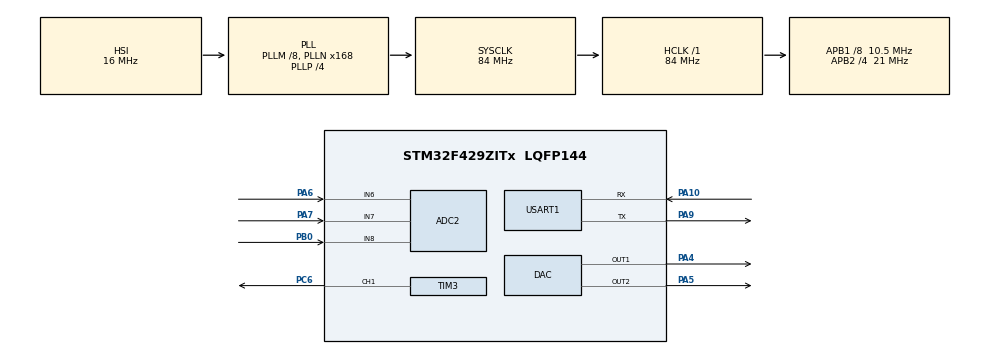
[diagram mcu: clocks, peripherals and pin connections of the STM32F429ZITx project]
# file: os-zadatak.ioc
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Mcu.Family=STM32F4
FREERTOS.Queues01=SCADA,16,Data,0,Dynamic,NULL,NULL
RCC.CortexFreq_Value=84000000
ADC2.SamplingTime-1\#ChannelRegularConversion=ADC_SAMPLETIME_480CYCLES
ADC2.Channel-0\#ChannelRegularConversion=ADC_CHANNEL_6
NVIC.TIM6_DAC_IRQn=true\:5\:0\:false\:false\:true\:true\:true\:true
RCC.SYSCLKSourceVirtual=RCC_SYSCLKSOURCE_PLLCLK
RCC.SYSCLKSource=RCC_SYSCLKSOURCE_PLLCLK
ProjectManager.StackSize=0x400
SH.COMP_DAC2_group.0=DAC_OUT2,DAC_OUT2
NVIC.ADC_IRQn=true\:5\:0\:false\:false\:true\:true\:true\:true
RCC.HCLKFreq_Value=84000000
RCC.APB2TimFreq_Value=42000000
TIM3.Period=1000
RCC.AHBFreq_Value=84000000
TIM3.Channel-PWM\ Generation1\ CH1=TIM_CHANNEL_1
RCC.HSE_VALUE=8000000
RCC.PLLMUL=RCC_PLL_MUL9
VP_SYS_VS_tim1.Mode=TIM1
TIM3.Prescaler=83
SH.ADCx_IN8.0=ADC2_IN8,IN8
SH.S_TIM3_CH1.0=TIM3_CH1,PWM Generation1 CH1
VP_FREERTOS_VS_CMSIS_V1.Mode=CMSIS_V1
Mcu.Package=LQFP144
PA6.Signal=ADCx_IN6
NVIC.TimeBase=TIM1_UP_TIM10_IRQn
ADC2.Channel-1\#ChannelRegularConversion=ADC_CHANNEL_7
NVIC.TimeBaseIP=TIM1
PA10.Signal=USART1_RX
ADC2.SamplingTime-0\#ChannelRegularConversion=ADC_SAMPLETIME_480CYCLES
RCC.APB2CLKDivider=RCC_HCLK_DIV4
ADC2.SamplingTime-2\#ChannelRegularConversion=ADC_SAMPLETIME_480CYCLES
ADC2.NbrOfConversion=3
RCC.APB1TimFreq_Value=21000000
ADC2.Rank-2\#ChannelRegularConversion=3
ADC2.Rank-0\#ChannelRegularConversion=1
NVIC.USART1_IRQn=true\:5\:0\:false\:false\:true\:true\:true\:true
VP_TIM3_VS_ClockSourceINT.Mode=Internal
ADC2.ScanConvMode=ENABLE
SH.COMP_DAC1_group.0=DAC_OUT1,DAC_OUT1
FREERTOS.Tasks01=LevelTask,1,128,StartLevelTask,Default,NULL,Dynamic,NULL,NULL;TempTask,2,128,StartTempTask,Default,NULL,Dynamic,NULL,NULL;pHTask,3,128,StartpHTask,Default,NULL,Dynamic,NULL,NULL;ComTask,-2,128,StartComTask,Default,NULL,Dynamic,NULL,NULL
PA10.Mode=Asynchronous
SH.ADCx_IN6.0=ADC2_IN6,IN6
PC6.Signal=S_TIM3_CH1
RCC.APB1CLKDivider=RCC_HCLK_DIV8
PA9.Mode=Asynchronous
ADC2.ContinuousConvMode=ENABLE
ProjectManager.TargetToolchain=STM32CubeIDE
SH.ADCx_IN7.0=ADC2_IN7,IN7
PA9.Signal=USART1_TX
RCC.USBFreq_Value=48000000
RCC.LSE_VALUE=32768
PA5.Signal=COMP_DAC2_group
board=NUCLEO-F429ZI
RCC.VCOOutputFreq_Value=336000000
ADC2.Channel-2\#ChannelRegularConversion=ADC_CHANNEL_8
RCC.APB2Freq_Value=21000000
RCC.PRESCALERUSB=RCC_USBCLKSOURCE_PLL_DIV1_5
Mcu.Name=STM32F429ZITx
RCC.APB2TimCLKDivider=2
RCC.48MHZClocksFreq_Value=48000000
PA4.Signal=COMP_DAC1_group
RCC.SYSCLKFreq_VALUE=84000000
ADC2.NbrOfConversionFlag=1
USART1.VirtualMode=VM_ASYNC
ProjectManager.HeapSize=0x200
NVIC.TIM1_UP_TIM10_IRQn=true\:0\:0\:false\:false\:true\:false\:false\:true
RCC.HSI_VALUE=16000000
FREERTOS.Mutexes01=MutexADC,Dynamic,NULL
RCC.PLLP=RCC_PLLP_DIV4
RCC.PLLQ=7
NVIC.PriorityGroup=NVIC_PRIORITYGROUP_4
RCC.PLLM=8
RCC.PLLN=168
ADC2.Rank-1\#ChannelRegularConversion=2
RCC.APB1Freq_Value=10500000
PB0.Signal=ADCx_IN8
PA7.Signal=ADCx_IN7

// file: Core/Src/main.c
/* USER CODE BEGIN Header */
/**
  ******************************************************************************
  * @file           : main.c
  * @brief          : Main program body
  ******************************************************************************
  * @attention
  *
  * <h2><center>&copy; Copyright (c) 2019 STMicroelectronics.
  * All rights reserved.</center></h2>
  *
  * This software component is licensed by ST under Ultimate Liberty license
  * SLA0044, the "License"; You may not use this file except in compliance with
  * the License. You may obtain a copy of the License at:
  *                             www.st.com/SLA0044
  *
  ******************************************************************************
  */
/* USER CODE END Header */

#include "main.h"
#include "cmsis_os.h"
#include <stdlib.h>
#include <stdio.h>
#include <string.h>

ADC_HandleTypeDef hadc2;

DAC_HandleTypeDef hdac;

TIM_HandleTypeDef htim3;

UART_HandleTypeDef huart1;

osThreadId LevelTaskHandle;
osThreadId TempTaskHandle;
osThreadId pHTaskHandle;
osThreadId ComTaskHandle;

osMailQId SCADAHandle;
osMutexId MutexADCHandle;

void SystemClock_Config(void);
static void MX_GPIO_Init(void);
static void MX_DAC_Init(void);
static void MX_USART1_UART_Init(void);
static void MX_ADC2_Init(void);
static void MX_TIM3_Init(void);

// Korisnicki kreirane funkcije za svaki od taskova navedenih u zadatku
void StartTask1(void const * argument); // Task vezan za nivo vode
void StartTask2(void const * argument); // Task vezan za temeraturu
void StartTask3(void const * argument); // Task vezan za ph vrijednost
void StartTask4(void const * argument); // Task vezan za komunikaciju

/* USER CODE BEGIN PFP */
//Korisnicki kreirane varijable
uint16_t adcValue[3];  //varijabla za podatke sa adc-a
osStatus status = osOK;

static float max_level; // max level tecnosti
static float max_pH;    // max ph vrijednost
static float max_temp;  // max temperatura
static float tretnutna_vr_pH; //trenutna ph vrijednost
static float trenutna_vr_temp;  //trenutna temperatura
static float trenutna_vr_lvl; // trenutni level vode

uint32_t Ttimestamp;
uint32_t Ptimestamp;
uint32_t Ltimestamp;

unsigned char Ulazni_buffer[8];
unsigned char Izlazni_buffer[25];

//Strukture koje koristimo za komunikaciju
struct dolaznaPoruka {
	char tip;
	char vrijednost[7];
};

struct odlaznaPoruka{
	char tip;
	char refVrijednost[7];
	char mjVrijednost[7];
	char timestamp[10];
};

/* USER CODE END PFP */

int main(void)
{

  /* MCU Configuration--------------------------------------------------------*/

  /* Reset of all peripherals, Initializes the Flash interface and the Systick. */
  HAL_Init();

  /* Configure the system clock */
  SystemClock_Config();

  /* Initialize all configured peripherals */
  MX_GPIO_Init();
  MX_DAC_Init();
  MX_USART1_UART_Init();
  MX_ADC2_Init();
  MX_TIM3_Init();

  /* Create the mutex(es) */
  /* definition and creation of MutexADC */
  osMutexDef(MutexADC);
  MutexADCHandle = osMutexCreate(osMutex(MutexADC));

  /* Create the queue(s) */
  /* definition and creation of SCADA */
  //osMailQDef(SCADA, 16, Data);
	//SCADAHandle = osMailCreate(osMailQ(SCADA), NULL);

  /* Create the thread(s) */
  /* definition and creation of Task1 */
  osThreadDef(LevelTask, StartTask1, osPriorityAboveNormal, 0, 128);
  LevelTaskHandle = osThreadCreate(osThread(LevelTask), NULL);

  /* definition and creation of Task2 */
  osThreadDef(TempTask, StartTask2, osPriorityHigh, 0, 128);
  TempTaskHandle = osThreadCreate(osThread(TempTask), NULL);

  /* definition and creation of Task3 */
  osThreadDef(pHTask, StartTask3, osPriorityRealtime, 0, 128);
  pHTaskHandle = osThreadCreate(osThread(pHTask), NULL);

  /* definition and creation of Task4 */
  osThreadDef(ComTask, StartTask4, osPriorityLow, 0, 128);
  ComTaskHandle = osThreadCreate(osThread(ComTask), NULL);

  /* Start scheduler */
  osKernelStart();

  /* We should never get here as control is now taken by the scheduler */

  /* Infinite loop */
  /* USER CODE BEGIN WHILE */
 // HAL_ADC_Start_DMA(&hadc2, (uint32_t*) adcValue, 3);

	while (1)
  {
    /* USER CODE END WHILE */

  }
}

void SystemClock_Config(void)
{
  RCC_OscInitTypeDef RCC_OscInitStruct = {0};
  RCC_ClkInitTypeDef RCC_ClkInitStruct = {0};

  /** Configure the main internal regulator output voltage
  */
  __HAL_RCC_PWR_CLK_ENABLE();
  __HAL_PWR_VOLTAGESCALING_CONFIG(PWR_REGULATOR_VOLTAGE_SCALE3);
  /** Initializes the CPU, AHB and APB busses clocks
  */
  RCC_OscInitStruct.OscillatorType = RCC_OSCILLATORTYPE_HSI;
  RCC_OscInitStruct.HSIState = RCC_HSI_ON;
  RCC_OscInitStruct.HSICalibrationValue = RCC_HSICALIBRATION_DEFAULT;
  RCC_OscInitStruct.PLL.PLLState = RCC_PLL_ON;
  RCC_OscInitStruct.PLL.PLLSource = RCC_PLLSOURCE_HSI;
  RCC_OscInitStruct.PLL.PLLM = 8;
  RCC_OscInitStruct.PLL.PLLN = 168;
  RCC_OscInitStruct.PLL.PLLP = RCC_PLLP_DIV4;
  RCC_OscInitStruct.PLL.PLLQ = 7;
  if (HAL_RCC_OscConfig(&RCC_OscInitStruct) != HAL_OK)
  {
    Error_Handler();
  }
  /** Initializes the CPU, AHB and APB busses clocks
  */
  RCC_ClkInitStruct.ClockType = RCC_CLOCKTYPE_HCLK|RCC_CLOCKTYPE_SYSCLK
                              |RCC_CLOCKTYPE_PCLK1|RCC_CLOCKTYPE_PCLK2;
  RCC_ClkInitStruct.SYSCLKSource = RCC_SYSCLKSOURCE_PLLCLK;
  RCC_ClkInitStruct.AHBCLKDivider = RCC_SYSCLK_DIV1;
  RCC_ClkInitStruct.APB1CLKDivider = RCC_HCLK_DIV8;
  RCC_ClkInitStruct.APB2CLKDivider = RCC_HCLK_DIV4;

  if (HAL_RCC_ClockConfig(&RCC_ClkInitStruct, FLASH_LATENCY_2) != HAL_OK)
  {
    Error_Handler();
  }
}

static void MX_ADC2_Init(void)
{

  ADC_ChannelConfTypeDef sConfig = {0};

  /** Configure the global features of the ADC (Clock, Resolution, Data Alignment and number of conversion)
  */
  hadc2.Instance = ADC2;
  hadc2.Init.ClockPrescaler = ADC_CLOCK_SYNC_PCLK_DIV2;
  hadc2.Init.Resolution = ADC_RESOLUTION_12B;
  hadc2.Init.ScanConvMode = ENABLE;
  hadc2.Init.ContinuousConvMode = ENABLE;
  hadc2.Init.DiscontinuousConvMode = DISABLE;
  hadc2.Init.ExternalTrigConvEdge = ADC_EXTERNALTRIGCONVEDGE_NONE;
  hadc2.Init.ExternalTrigConv = ADC_SOFTWARE_START;
  hadc2.Init.DataAlign = ADC_DATAALIGN_RIGHT;
  hadc2.Init.NbrOfConversion = 3;
  hadc2.Init.DMAContinuousRequests = DISABLE;
  hadc2.Init.EOCSelection = ADC_EOC_SINGLE_CONV;
  if (HAL_ADC_Init(&hadc2) != HAL_OK)
  {
    Error_Handler();
  }
  /** Configure for the selected ADC regular channel its corresponding rank in the sequencer and its sample time.
  */
  sConfig.Channel = ADC_CHANNEL_6;
  sConfig.Rank = 1;
  sConfig.SamplingTime = ADC_SAMPLETIME_480CYCLES;
  if (HAL_ADC_ConfigChannel(&hadc2, &sConfig) != HAL_OK)
  {
    Error_Handler();
  }
  /** Configure for the selected ADC regular channel its corresponding rank in the sequencer and its sample time.
  */
  sConfig.Channel = ADC_CHANNEL_7;
  sConfig.Rank = 2;
  if (HAL_ADC_ConfigChannel(&hadc2, &sConfig) != HAL_OK)
  {
    Error_Handler();
  }
  /** Configure for the selected ADC regular channel its corresponding rank in the sequencer and its sample time.
  */
  sConfig.Channel = ADC_CHANNEL_8;
  sConfig.Rank = 3;
  if (HAL_ADC_ConfigChannel(&hadc2, &sConfig) != HAL_OK)
  {
    Error_Handler();
  }

}

static void MX_DAC_Init(void)
{

  DAC_ChannelConfTypeDef sConfig = {0};

  /** DAC Initialization
  */
  hdac.Instance = DAC;
  if (HAL_DAC_Init(&hdac) != HAL_OK)
  {
    Error_Handler();
  }
  /** DAC channel OUT1 config
  */
  sConfig.DAC_Trigger = DAC_TRIGGER_NONE;
  sConfig.DAC_OutputBuffer = DAC_OUTPUTBUFFER_ENABLE;
  if (HAL_DAC_ConfigChannel(&hdac, &sConfig, DAC_CHANNEL_1) != HAL_OK)
  {
    Error_Handler();
  }
  /** DAC channel OUT2 config
  */
  if (HAL_DAC_ConfigChannel(&hdac, &sConfig, DAC_CHANNEL_2) != HAL_OK)
  {
    Error_Handler();
  }

}

static void MX_TIM3_Init(void)
{

  TIM_ClockConfigTypeDef sClockSourceConfig = {0};
  TIM_MasterConfigTypeDef sMasterConfig = {0};
  TIM_OC_InitTypeDef sConfigOC = {0};

  htim3.Instance = TIM3;
  htim3.Init.Prescaler = 83;
  htim3.Init.CounterMode = TIM_COUNTERMODE_UP;
  htim3.Init.Period = 1000;
  htim3.Init.ClockDivision = TIM_CLOCKDIVISION_DIV1;
  htim3.Init.AutoReloadPreload = TIM_AUTORELOAD_PRELOAD_DISABLE;
  if (HAL_TIM_Base_Init(&htim3) != HAL_OK)
  {
    Error_Handler();
  }
  sClockSourceConfig.ClockSource = TIM_CLOCKSOURCE_INTERNAL;
  if (HAL_TIM_ConfigClockSource(&htim3, &sClockSourceConfig) != HAL_OK)
  {
    Error_Handler();
  }
  if (HAL_TIM_PWM_Init(&htim3) != HAL_OK)
  {
    Error_Handler();
  }
  sMasterConfig.MasterOutputTrigger = TIM_TRGO_RESET;
  sMasterConfig.MasterSlaveMode = TIM_MASTERSLAVEMODE_DISABLE;
  if (HAL_TIMEx_MasterConfigSynchronization(&htim3, &sMasterConfig) != HAL_OK)
  {
    Error_Handler();
  }
  sConfigOC.OCMode = TIM_OCMODE_PWM1;
  sConfigOC.Pulse = 0;
  sConfigOC.OCPolarity = TIM_OCPOLARITY_HIGH;
  sConfigOC.OCFastMode = TIM_OCFAST_DISABLE;
  if (HAL_TIM_PWM_ConfigChannel(&htim3, &sConfigOC, TIM_CHANNEL_1) != HAL_OK)
  {
    Error_Handler();
  }
  HAL_TIM_MspPostInit(&htim3);

}

static void MX_USART1_UART_Init(void)
{

  huart1.Instance = USART1;
  huart1.Init.BaudRate = 115200;
  huart1.Init.WordLength = UART_WORDLENGTH_8B;
  huart1.Init.StopBits = UART_STOPBITS_1;
  huart1.Init.Parity = UART_PARITY_NONE;
  huart1.Init.Mode = UART_MODE_TX_RX;
  huart1.Init.HwFlowCtl = UART_HWCONTROL_NONE;
  huart1.Init.OverSampling = UART_OVERSAMPLING_16;
  if (HAL_UART_Init(&huart1) != HAL_OK)
  {
    Error_Handler();
  }

}

static void MX_GPIO_Init(void)
{

  /* GPIO Ports Clock Enable */
  __HAL_RCC_GPIOA_CLK_ENABLE();
  __HAL_RCC_GPIOB_CLK_ENABLE();
  __HAL_RCC_GPIOC_CLK_ENABLE();

}

/* USER CODE BEGIN Header_StartTask1 */

// Impulsno sirinska modulacija
void pwm(uint16_t val){

		TIM_OC_InitTypeDef sConfigOC;
    sConfigOC.OCMode = TIM_OCMODE_PWM1;
    sConfigOC.Pulse = val;
    sConfigOC.OCPolarity = TIM_OCPOLARITY_HIGH;
    sConfigOC.OCFastMode = TIM_OCFAST_DISABLE;
    HAL_TIM_PWM_ConfigChannel(&htim3, &sConfigOC, TIM_CHANNEL_1);
    HAL_TIM_PWM_Start(&htim3, TIM_CHANNEL_1);
}

/* USER CODE END Header_StartTask1 - odnosi se na nivo vode */
void StartTask1(void const * argument)
{

  /* USER CODE BEGIN 5 */
  /* Infinite loop */

	ADC_ChannelConfTypeDef sConfig = {0};
	//koeficijenti za proracun greske, regulacionog signala i relejnog upravljanja
	static float b0 = 0.2;
	static float b1 = 0.4;
	static float b2 = 0.6;
	static float ek_1 = 0;
	static float ek_2 = 0;
	static float uk_1 = 0;
	uint16_t izmjereniLevel;  //privremena varijabla

	while(1)
  {
		int start = osKernelSysTick();
		if(status == osOK)
			{
			    //Koristenje mutex-a
				status = osMutexWait(MutexADCHandle,2000);
				//setovanje kanala za ADC -> u ovom slucaju koristimo kanal 6
				sConfig.Channel = ADC_CHANNEL_6;
				sConfig.Rank = 1;

				if (HAL_ADC_ConfigChannel(&hadc2, &sConfig) != HAL_OK)
					Error_Handler();

				HAL_ADC_Start(&hadc2);
				HAL_ADC_PollForConversion(&hadc2,10UL);
				// u adcValue smijestamo vrijednost sa ADC -> senzor nivoa
				adcValue[0]=HAL_ADC_GetValue(&hadc2);
				HAL_ADC_Stop(&hadc2);
				status = osMutexRelease(MutexADCHandle);
			}

		/*
		for(int i = 0; i < 4; ++i)
		{
			bufferZaSlanjeLevel[4-i] = (adcValue[0] % 10)+48;
			adcValue[0]/=10;
		}
		*/
		// Primjena formula
			izmjereniLevel = adcValue[0];
			float ek = max_level - izmjereniLevel; //racunanje regulacione greske
			float uk = uk_1 + b0 * ek + b1 * ek_1 + b2 * ek_2; //racunanje upravljackog signala
			HAL_DAC_SetValue(&hdac, DAC_CHANNEL_1, DAC_ALIGN_12B_R, uk);
			ek_2 = ek_1;
			ek_1 = ek;
			uk_1 = uk;

		/*
		bufferZaSlanjeLevel[5] = '\n';
		bufferZaSlanjeLevel[0] = 'L';
		HAL_UART_Transmit(&huart1,bufferZaSlanjeLevel,6,100);
		*/

			int end = osKernelSysTick();
			Ltimestamp = end-start;
			osDelay(100 - Ltimestamp);
		}
		/* USER CODE END 5 */
}

/* USER CODE BEGIN Header_StartTask2 */
/* USER CODE END Header_StartTask2 -> odnosi se na temperaturu */
void StartTask2(void const * argument)
{
  /* USER CODE BEGIN */
  /* Infinite loop */
	//koeficijenti za proracun greske, regulacionog signala i relejnog upravljanja
	ADC_ChannelConfTypeDef sConfig = {0};
	static float b0 = 0.4;
	static float b1 = 0.3;
	static float b2 = 0.5;
	static float ek_1 = 0;
	static float ek_2 = 0;
	static float uk_1 = 0;
	uint16_t temperaturaIzmjerena;

	while(1)
  {
		int start = osKernelSysTick();
		if(status == osOK)
			{
			   //Kao i u prethodnoj funkciji, setujemo mutex
				status = osMutexWait(MutexADCHandle,2000);
				// Sada mijenjamo ADC kanal na 7 -> za mjerenje temperatuje
				sConfig.Channel = ADC_CHANNEL_7;
				sConfig.Rank = 1;

				if (HAL_ADC_ConfigChannel(&hadc2, &sConfig) != HAL_OK)
					Error_Handler();

				HAL_ADC_Start(&hadc2);
				HAL_ADC_PollForConversion(&hadc2,10UL);
				adcValue[1]=HAL_ADC_GetValue(&hadc2); //citamo vrijednost sa ADC i smijestamo u adcValue
				status = osMutexRelease(MutexADCHandle);
			}

		/*
		for(int i = 0; i < 4; ++i)
		{
			bufferZaSlanjeTemp[4-i] = (adcValue[1] % 10)+48;
			adcValue[1]/=10;
		}
		*/

		temperaturaIzmjerena = adcValue[1];
		float ek = max_temp - temperaturaIzmjerena; //racunanje regulacione greske
		float uk = uk_1 + b0 * ek + b1 * ek_1 + b2 * ek_2; //racunanje upravljackog signala

		pwm(uk);
		ek_2 = ek_1;
		ek_1 = ek;
		uk_1 = uk;

		/*
		bufferZaSlanjeTemp[5] = '\n';
		bufferZaSlanjeTemp[0] = 'T';
		HAL_UART_Transmit(&huart1,bufferZaSlanjeTemp,6,100);
		*/

		int end = osKernelSysTick();
		Ttimestamp = end - start;
		osDelay(70 - Ttimestamp);
  }
  /* USER CODE END StartTask2 */
}

/* USER CODE BEGIN Header_StarTask3 */
/* USER CODE END Header_StartTask3 -> odnosi se na ph vrijednost */
void StartTask3(void const * argument)
{
  /* USER CODE BEGIN */
  /* Infinite loop */

	static float b0 = 0.2;
	static float b1 = 0.4;
	static float b2 = 0.6;
	static float ek_1 = 0;// e(k-1)
	static float ek_2 = 0;// e(k-2)
	static float uk_1 = 0;// u(k-1)
	uint16_t phIzmjerena;

	ADC_ChannelConfTypeDef sConfig = {0};
	while(1)
  {
		int start = osKernelSysTick();
		if(status == osOK)
			{
			//Mutex
				status = osMutexWait(MutexADCHandle,2000);
			//Setujemo kanal na ADC-u
				sConfig.Channel = ADC_CHANNEL_8;
				sConfig.Rank = 1;

				if (HAL_ADC_ConfigChannel(&hadc2, &sConfig) != HAL_OK)
					Error_Handler();

				HAL_ADC_Start(&hadc2);
				HAL_ADC_PollForConversion(&hadc2,10UL);
				adcValue[2]=HAL_ADC_GetValue(&hadc2); //citamo vrijednost sa ADC-a
				status = osMutexRelease(MutexADCHandle);
			}

			phIzmjerena = adcValue[2];
			float ek = max_pH - phIzmjerena; //racunanje regulacione greske
			float uk = uk_1 + b0 * ek + b1 * ek_1 + b2 * ek_2; // racunanje upravljackog signala
			HAL_DAC_SetValue(&hdac, DAC_CHANNEL_2, DAC_ALIGN_12B_R, uk);
			ek_2 = ek_1;
			ek_1 = ek;
			uk_1 = uk;

		/*
		for(int i = 0; i < 4; i++){
			bufferZaSlanjePH[4-i] = (adcValue[2] % 10)+48;
			adcValue[2]/=10;
		}

		bufferZaSlanjePH[5] = '\n';
		bufferZaSlanjePH[0] = 'P';
		HAL_UART_Transmit(&huart1,bufferZaSlanjePH,6,100);
		*/

		int end = osKernelSysTick();
	  Ptimestamp = end-start;
		osDelay(50- Ptimestamp);
  }
  /* USER CODE END StartpHTask */
}

void print (int num)
{
	struct odlaznaPoruka Izlaz; //Pravimo varijablu (objakat) tipa odlazna poruka
	Izlaz.tip = num;  			//clanu tip objekta Izlaz dodjeljujemo vr. num, odnosno koju cemo poruku poslati

	float Max = 0,Trenutno = 0;
	uint32_t timestamp = 0;
	if(num == 1) //saljemo poruku o ph vrijednosti
	{
			Max = max_pH;
			Trenutno = tretnutna_vr_pH;
			timestamp = Ptimestamp;
	}
	else if(num == 2) //saljemo poruku o temperaturi
	{
			Max = max_temp;
			Trenutno = trenutna_vr_temp;
			timestamp = Ttimestamp;
	}
	else if(num == 3) //saljemo poruku o nivou vode
	{
			Max = max_level;
			Trenutno = trenutna_vr_lvl;
			timestamp = Ltimestamp;
	}

	sprintf(Izlaz.refVrijednost, "%d", Max); // ispisujemo max vrijednost
	sprintf(Izlaz.mjVrijednost, "%d", Trenutno); //ispisujemo trenutnu vrijednost
	sprintf(Izlaz.timestamp, "%10d", timestamp); //ispisujemo timestamp
	memcpy(Izlazni_buffer, &Izlaz, sizeof(Izlaz)); //Upisujemo vrijednost u memoriju, from Izlazni_buffer -> &Izlaz
	HAL_UART_Transmit(&huart1, Izlazni_buffer, 25, 1000);

}

void StartTask4(void const * argument)
{
  /* USER CODE BEGIN  */
  /* Infinite loop */
	while(1)
  {
		HAL_UART_Receive(&huart1, Ulazni_buffer, 8, 10000);
		struct dolaznaPoruka *Ulaz = (struct dolaznaPoruka *) Ulazni_buffer;
		if(Ulaz->tip == 1)
			{
				max_pH = strtof(Ulaz->vrijednost, NULL);
			}
				else if(Ulaz->tip == 2)
				{
					max_temp = strtof(Ulaz->vrijednost, NULL);
				}
					else if(Ulaz->tip == 3)
						{
							max_level = strtof(Ulaz->vrijednost, NULL);
						}
							else
								{
									print(1);
									print(2);
									print(3);
								}
  }
  /* USER CODE END StartComTask */
}

void HAL_TIM_PeriodElapsedCallback(TIM_HandleTypeDef *htim)
{
  if (htim->Instance == TIM1) {
    HAL_IncTick();
  }
}

void Error_Handler(void)
{
}

/************************ (C) COPYRIGHT STMicroelectronics *****END OF FILE****/
